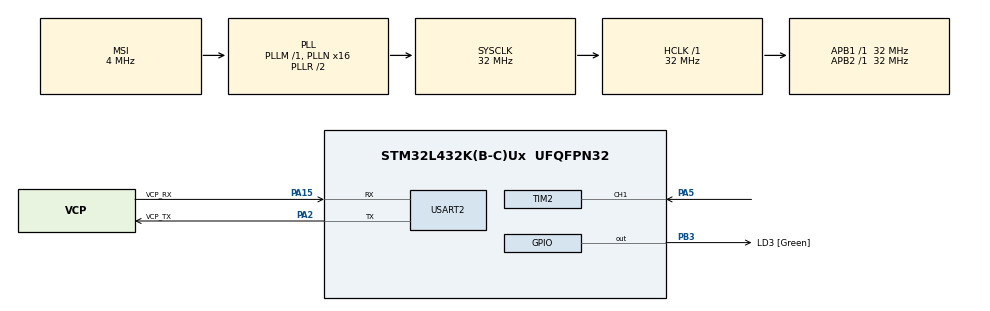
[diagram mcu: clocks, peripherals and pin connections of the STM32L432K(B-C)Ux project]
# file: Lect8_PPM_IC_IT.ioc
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Mcu.Family=STM32L4
Mcu.Name=STM32L432K(B-C)Ux
Mcu.Package=UFQFPN32
NVIC.PriorityGroup=NVIC_PRIORITYGROUP_4
NVIC.TIM2_IRQn=true\:0\:0\:false\:false\:true\:true\:true
PA0.GPIO_Label=MCO [High speed clock in]
PA0.Mode=HSE-External-Clock-Source-for-LittleOrca
PA0.Signal=RCC_CK_IN
PA13\ (JTMS-SWDIO).GPIO_Label=SWDIO
PA13\ (JTMS-SWDIO).Mode=Serial_Wire
PA13\ (JTMS-SWDIO).Signal=SYS_JTMS-SWDIO
PA14\ (JTCK-SWCLK).GPIO_Label=SWCLK
PA14\ (JTCK-SWCLK).Mode=Serial_Wire
PA14\ (JTCK-SWCLK).Signal=SYS_JTCK-SWCLK
PA15\ (JTDI).GPIO_Label=VCP_RX
PA15\ (JTDI).Mode=Asynchronous
PA15\ (JTDI).Signal=USART2_RX
PA2.GPIO_Label=VCP_TX
PA2.Mode=Asynchronous
PA2.Signal=USART2_TX
PA5.Signal=S_TIM2_CH1
PB3\ (JTDO-TRACESWO).GPIO_Label=LD3 [Green]
PB3\ (JTDO-TRACESWO).Signal=GPIO_Output
PC14-OSC32_IN\ (PC14).Mode=LSE-External-Oscillator
PC14-OSC32_IN\ (PC14).Signal=RCC_OSC32_IN
PC15-OSC32_OUT\ (PC15).Mode=LSE-External-Oscillator
PC15-OSC32_OUT\ (PC15).Signal=RCC_OSC32_OUT
ProjectManager.HeapSize=0x200
ProjectManager.StackSize=0x400
ProjectManager.TargetToolchain=STM32CubeIDE
RCC.AHBFreq_Value=32000000
RCC.APB1Freq_Value=32000000
RCC.APB1TimFreq_Value=32000000
RCC.APB2Freq_Value=32000000
RCC.APB2TimFreq_Value=32000000
RCC.CortexFreq_Value=32000000
RCC.HCLKFreq_Value=32000000
RCC.HSE_VALUE=8000000
RCC.HSI16_VALUE=16000000
RCC.HSI48_VALUE=48000000
RCC.HSI_VALUE=16000000
RCC.MSI_VALUE=4000000
RCC.PLLMUL=RCC_PLLMUL_4
RCC.PLLN=16
RCC.SYSCLKFreq_VALUE=32000000
RCC.SYSCLKSource=RCC_SYSCLKSOURCE_PLLCLK
RCC.VCOOutputFreq_Value=64000000
SH.S_TIM2_CH1.0=TIM2_CH1,Input_Capture1_from_TI1
TIM2.Channel-Input_Capture1_from_TI1=TIM_CHANNEL_1
TIM2.ICPolarity_CH1=TIM_INPUTCHANNELPOLARITY_FALLING
TIM2.Period=4294967295
TIM2.Prescaler=31
USART2.VirtualMode-Asynchronous=VM_ASYNC
VP_TIM2_VS_ClockSourceINT.Mode=Internal
board=NUCLEO-L432KC

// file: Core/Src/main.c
/* USER CODE BEGIN Header */
/**
  ******************************************************************************
  * @file           : main.c
  * @brief          : Main program body
  ******************************************************************************
  * @attention
  *
  * <h2><center>&copy; Copyright (c) 2020 STMicroelectronics.
  * All rights reserved.</center></h2>
  *
  * This software component is licensed by ST under BSD 3-Clause license,
  * the "License"; You may not use this file except in compliance with the
  * License. You may obtain a copy of the License at:
  *                        opensource.org/licenses/BSD-3-Clause
  *
  ******************************************************************************
  */
/* USER CODE END Header */
#include "main.h"

/* USER CODE BEGIN Includes */
#include <stdio.h>
#include <string.h>
#include <stdbool.h>
/* USER CODE END Includes */

TIM_HandleTypeDef htim2;

UART_HandleTypeDef huart2;

/* USER CODE BEGIN PV */
volatile bool bCaptured = false;
volatile bool bSynced = true;

const uint32_t StallDetect = 60000;	// If no signal for more than 60 mS, then detect an issue

volatile uint32_t measured_time, measured_time_start;
volatile uint8_t channel_select_counter;
volatile uint16_t pulses[9];
/* USER CODE END PV */

void SystemClock_Config(void);
static void MX_GPIO_Init(void);
static void MX_USART2_UART_Init(void);
static void MX_TIM2_Init(void);

int main(void)
{

  /* MCU Configuration--------------------------------------------------------*/

  /* Reset of all peripherals, Initializes the Flash interface and the Systick. */
  HAL_Init();

  /* Configure the system clock */
  SystemClock_Config();

  /* Initialize all configured peripherals */
  MX_GPIO_Init();
  MX_USART2_UART_Init();
  MX_TIM2_Init();
  /* USER CODE BEGIN 2 */
  char buf[80];

  HAL_TIM_IC_Start_IT(&htim2, TIM_CHANNEL_1);
  /* USER CODE END 2 */

  /* Infinite loop */
  /* USER CODE BEGIN WHILE */
  while (1)
  {
	  if(bCaptured)
	  {
		  bCaptured = false;
		  sprintf(buf,"%06u:  %4u %4u %4u %4u %4u %4u %4u %4u %4u\r\n",measured_time_start,pulses[0], pulses[1], pulses[2], pulses[3], pulses[4], pulses[5],pulses[6],pulses[7],pulses[8]);
		  HAL_UART_Transmit(&huart2, (uint8_t*)buf, strlen(buf), 100);
	  }

	  if(TIM2->CNT>StallDetect && bSynced )
	  {
		  bSynced = false;
		  sprintf(buf,"\r\n****** WARNING!  Receiver Not Synced ******\r\n\r\n");
		  HAL_UART_Transmit(&huart2, (uint8_t*)buf, strlen(buf), 100);
	  }
    /* USER CODE END WHILE */

  }
}

void SystemClock_Config(void)
{
  RCC_OscInitTypeDef RCC_OscInitStruct = {0};
  RCC_ClkInitTypeDef RCC_ClkInitStruct = {0};
  RCC_PeriphCLKInitTypeDef PeriphClkInit = {0};

  /** Configure LSE Drive Capability
  */
  HAL_PWR_EnableBkUpAccess();
  __HAL_RCC_LSEDRIVE_CONFIG(RCC_LSEDRIVE_LOW);
  /** Initializes the RCC Oscillators according to the specified parameters
  * in the RCC_OscInitTypeDef structure.
  */
  RCC_OscInitStruct.OscillatorType = RCC_OSCILLATORTYPE_LSE|RCC_OSCILLATORTYPE_MSI;
  RCC_OscInitStruct.LSEState = RCC_LSE_ON;
  RCC_OscInitStruct.MSIState = RCC_MSI_ON;
  RCC_OscInitStruct.MSICalibrationValue = 0;
  RCC_OscInitStruct.MSIClockRange = RCC_MSIRANGE_6;
  RCC_OscInitStruct.PLL.PLLState = RCC_PLL_ON;
  RCC_OscInitStruct.PLL.PLLSource = RCC_PLLSOURCE_MSI;
  RCC_OscInitStruct.PLL.PLLM = 1;
  RCC_OscInitStruct.PLL.PLLN = 16;
  RCC_OscInitStruct.PLL.PLLP = RCC_PLLP_DIV7;
  RCC_OscInitStruct.PLL.PLLQ = RCC_PLLQ_DIV2;
  RCC_OscInitStruct.PLL.PLLR = RCC_PLLR_DIV2;
  if (HAL_RCC_OscConfig(&RCC_OscInitStruct) != HAL_OK)
  {
    Error_Handler();
  }
  /** Initializes the CPU, AHB and APB buses clocks
  */
  RCC_ClkInitStruct.ClockType = RCC_CLOCKTYPE_HCLK|RCC_CLOCKTYPE_SYSCLK
                              |RCC_CLOCKTYPE_PCLK1|RCC_CLOCKTYPE_PCLK2;
  RCC_ClkInitStruct.SYSCLKSource = RCC_SYSCLKSOURCE_PLLCLK;
  RCC_ClkInitStruct.AHBCLKDivider = RCC_SYSCLK_DIV1;
  RCC_ClkInitStruct.APB1CLKDivider = RCC_HCLK_DIV1;
  RCC_ClkInitStruct.APB2CLKDivider = RCC_HCLK_DIV1;

  if (HAL_RCC_ClockConfig(&RCC_ClkInitStruct, FLASH_LATENCY_1) != HAL_OK)
  {
    Error_Handler();
  }
  PeriphClkInit.PeriphClockSelection = RCC_PERIPHCLK_USART2;
  PeriphClkInit.Usart2ClockSelection = RCC_USART2CLKSOURCE_PCLK1;
  if (HAL_RCCEx_PeriphCLKConfig(&PeriphClkInit) != HAL_OK)
  {
    Error_Handler();
  }
  /** Configure the main internal regulator output voltage
  */
  if (HAL_PWREx_ControlVoltageScaling(PWR_REGULATOR_VOLTAGE_SCALE1) != HAL_OK)
  {
    Error_Handler();
  }
  /** Enable MSI Auto calibration
  */
  HAL_RCCEx_EnableMSIPLLMode();
}

static void MX_TIM2_Init(void)
{

  TIM_ClockConfigTypeDef sClockSourceConfig = {0};
  TIM_MasterConfigTypeDef sMasterConfig = {0};
  TIM_IC_InitTypeDef sConfigIC = {0};

  htim2.Instance = TIM2;
  htim2.Init.Prescaler = 31;
  htim2.Init.CounterMode = TIM_COUNTERMODE_UP;
  htim2.Init.Period = 4294967295;
  htim2.Init.ClockDivision = TIM_CLOCKDIVISION_DIV1;
  htim2.Init.AutoReloadPreload = TIM_AUTORELOAD_PRELOAD_DISABLE;
  if (HAL_TIM_Base_Init(&htim2) != HAL_OK)
  {
    Error_Handler();
  }
  sClockSourceConfig.ClockSource = TIM_CLOCKSOURCE_INTERNAL;
  if (HAL_TIM_ConfigClockSource(&htim2, &sClockSourceConfig) != HAL_OK)
  {
    Error_Handler();
  }
  if (HAL_TIM_IC_Init(&htim2) != HAL_OK)
  {
    Error_Handler();
  }
  sMasterConfig.MasterOutputTrigger = TIM_TRGO_RESET;
  sMasterConfig.MasterSlaveMode = TIM_MASTERSLAVEMODE_DISABLE;
  if (HAL_TIMEx_MasterConfigSynchronization(&htim2, &sMasterConfig) != HAL_OK)
  {
    Error_Handler();
  }
  sConfigIC.ICPolarity = TIM_INPUTCHANNELPOLARITY_FALLING;
  sConfigIC.ICSelection = TIM_ICSELECTION_DIRECTTI;
  sConfigIC.ICPrescaler = TIM_ICPSC_DIV1;
  sConfigIC.ICFilter = 0;
  if (HAL_TIM_IC_ConfigChannel(&htim2, &sConfigIC, TIM_CHANNEL_1) != HAL_OK)
  {
    Error_Handler();
  }

}

static void MX_USART2_UART_Init(void)
{

  huart2.Instance = USART2;
  huart2.Init.BaudRate = 115200;
  huart2.Init.WordLength = UART_WORDLENGTH_8B;
  huart2.Init.StopBits = UART_STOPBITS_1;
  huart2.Init.Parity = UART_PARITY_NONE;
  huart2.Init.Mode = UART_MODE_TX_RX;
  huart2.Init.HwFlowCtl = UART_HWCONTROL_NONE;
  huart2.Init.OverSampling = UART_OVERSAMPLING_16;
  huart2.Init.OneBitSampling = UART_ONE_BIT_SAMPLE_DISABLE;
  huart2.AdvancedInit.AdvFeatureInit = UART_ADVFEATURE_NO_INIT;
  if (HAL_UART_Init(&huart2) != HAL_OK)
  {
    Error_Handler();
  }

}

static void MX_GPIO_Init(void)
{
  GPIO_InitTypeDef GPIO_InitStruct = {0};

  /* GPIO Ports Clock Enable */
  __HAL_RCC_GPIOC_CLK_ENABLE();
  __HAL_RCC_GPIOA_CLK_ENABLE();
  __HAL_RCC_GPIOB_CLK_ENABLE();

  /*Configure GPIO pin Output Level */
  HAL_GPIO_WritePin(LD3_GPIO_Port, LD3_Pin, GPIO_PIN_RESET);

  /*Configure GPIO pin : LD3_Pin */
  GPIO_InitStruct.Pin = LD3_Pin;
  GPIO_InitStruct.Mode = GPIO_MODE_OUTPUT_PP;
  GPIO_InitStruct.Pull = GPIO_NOPULL;
  GPIO_InitStruct.Speed = GPIO_SPEED_FREQ_LOW;
  HAL_GPIO_Init(LD3_GPIO_Port, &GPIO_InitStruct);

}

/* USER CODE BEGIN 4 */
void HAL_TIM_IC_CaptureCallback(TIM_HandleTypeDef* htim)
{
	if(htim==&htim2)
	{
		uint32_t current_time = TIM2->CCR1;
		HAL_GPIO_TogglePin(LD3_GPIO_Port, LD3_Pin);
		if(current_time>=measured_time_start)
			measured_time = current_time-measured_time_start;
		else
			measured_time = (0xFFFF-measured_time_start)+current_time;
		measured_time_start = current_time;
		if(measured_time>=3000)
			channel_select_counter = 0;
		else
			channel_select_counter++;

		pulses[channel_select_counter] = measured_time;

		if(channel_select_counter>=8)
		{
			__HAL_TIM_SET_COUNTER(&htim2,0);
			bCaptured = true;
			bSynced = true;
		}
	}

}
/* USER CODE END 4 */

void Error_Handler(void)
{
}

/************************ (C) COPYRIGHT STMicroelectronics *****END OF FILE****/
